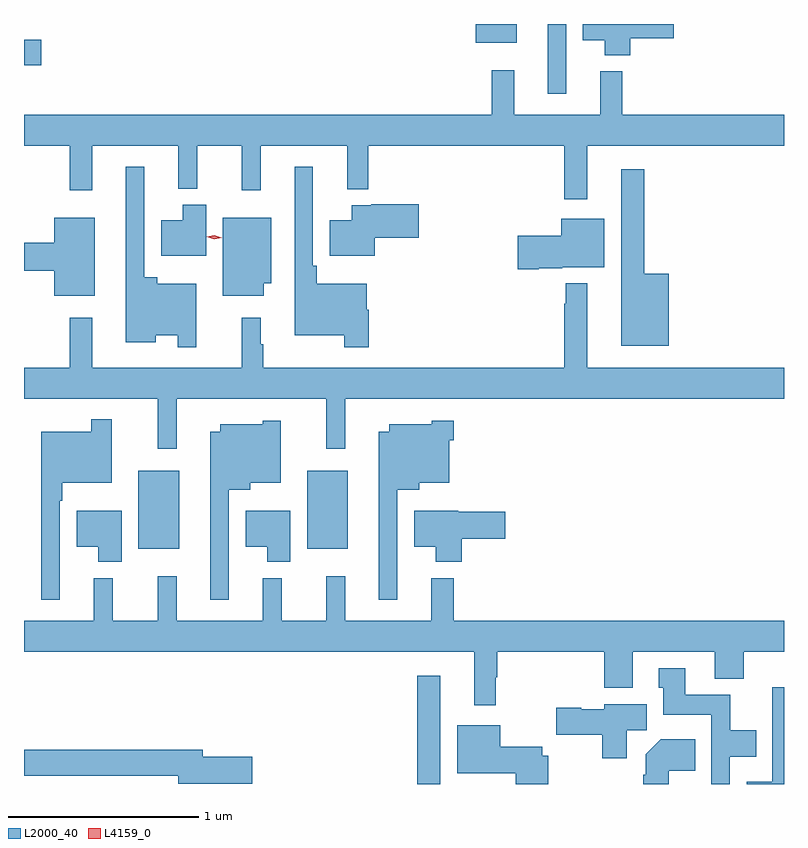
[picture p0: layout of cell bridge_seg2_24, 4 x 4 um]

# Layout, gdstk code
import gdstk
lib = gdstk.Library(unit=1e-6, precision=1e-09)
def R(c, l, rs):  # rectangles x0, y0, x1, y1
    for r in rs: c.add(gdstk.rectangle(r[:2], r[2:], *l))
def P(c, l, *ps):  # polygons
    for p in ps: c.add(gdstk.Polygon(p, *l))
L2000_40 = (2000, 40)
L4159_0 = (4159, 0)

bridge_seg2_24 = lib.new_cell('bridge_seg2_24')
R(bridge_seg2_24, L2000_40, [(673.65,658.929,673.771,659.5), (672.182,660.167,672.397,660.577), (673.07,660.167,673.285,660.577), (674.336,662.562,674.433,662.929), (671.58,662.711,671.671,662.846), (673.958,662.831,674.173,662.929)])
P(bridge_seg2_24, L2000_40, [(674.771,662.854),(675.001,662.854),(675.001,662.929),(674.522,662.929),(674.522,662.843),(674.636,662.843),(674.636,662.765),(674.771,662.765)],
  [(674.545,662.288),(675.58,662.288),(675.58,662.452),(674.729,662.452),(674.729,662.68),(674.612,662.68),(674.612,662.452),(674.159,662.452),(674.159,662.686),(674.041,662.686),(674.041,662.452),(671.58,662.452),(671.58,662.288),(671.821,662.288),(671.821,662.055),(671.939,662.055),(671.939,662.288),(672.392,662.288),(672.392,662.063),(672.492,662.063),(672.492,662.288),(672.727,662.288),(672.727,662.055),(672.827,662.055),(672.827,662.288),(673.28,662.288),(673.28,662.06),(673.393,662.06),(673.393,662.288),(674.424,662.288),(674.424,662.007),(674.545,662.007)],
  [(673.394,661.425),(673.384,661.425),(673.384,661.561),(673.121,661.561),(673.121,661.657),(673.101,661.657),(673.101,662.179),(673.005,662.179),(673.005,661.292),(673.266,661.292),(673.266,661.227),(673.394,661.227)],
  [(672.486,661.561),(672.282,661.561),(672.282,661.597),(672.213,661.597),(672.213,662.179),(672.116,662.179),(672.116,661.253),(672.274,661.253),(672.274,661.292),(672.39,661.292),(672.39,661.227),(672.486,661.227)],
  [(674.974,661.615),(674.845,661.615),(674.845,662.164),(674.723,662.164),(674.723,661.235),(674.974,661.235)],
  [(673.426,661.805),(673.657,661.805),(673.657,661.98),(673.408,661.98),(673.408,661.975),(673.304,661.975),(673.304,661.897),(673.19,661.897),(673.19,661.709),(673.426,661.709)],
  [(672.538,661.978),(672.416,661.978),(672.416,661.897),(672.302,661.897),(672.302,661.709),(672.538,661.709)],
  [(672.841,661.565),(672.88,661.565),(672.88,661.909),(672.626,661.909),(672.626,661.499),(672.841,661.499)],
  [(671.953,661.909),(671.738,661.909),(671.738,661.778),(671.58,661.778),(671.58,661.631),(671.738,661.631),(671.738,661.499),(671.953,661.499)],
  [(674.29,661.643),(674.412,661.643),(674.412,661.649),(674.635,661.649),(674.635,661.903),(674.408,661.903),(674.408,661.815),(674.178,661.815),(674.178,661.637),(674.29,661.637)],
  [(672.384,660.956),(673.171,660.956),(673.171,660.693),(673.272,660.693),(673.272,660.956),(675.58,660.956),(675.58,661.12),(674.545,661.12),(674.545,661.564),(674.431,661.564),(674.431,661.457),(674.424,661.457),(674.424,661.12),(672.838,661.12),(672.838,661.244),(672.826,661.244),(672.826,661.384),(672.727,661.384),(672.727,661.12),(671.938,661.12),(671.938,661.384),(671.821,661.384),(671.821,661.12),(671.58,661.12),(671.58,660.956),(672.283,660.956),(672.283,660.693),(672.384,660.693)],
  [(671.769,660.419),(671.782,660.419),(671.782,660.515),(672.042,660.515),(672.042,660.85),(671.934,660.85),(671.934,660.784),(671.672,660.784),(671.672,659.898),(671.769,659.898)],
  [(672.657,660.479),(672.772,660.479),(672.772,660.515),(672.931,660.515),(672.931,660.841),(672.837,660.841),(672.837,660.823),(672.614,660.823),(672.614,660.784),(672.56,660.784),(672.56,659.898),(672.657,659.898)],
  [(673.545,660.479),(673.66,660.479),(673.66,660.515),(673.819,660.515),(673.819,660.737),(673.841,660.737),(673.841,660.841),(673.725,660.841),(673.725,660.823),(673.502,660.823),(673.502,660.784),(673.448,660.784),(673.448,659.898),(673.545,659.898)],
  [(673.883,660.22),(674.113,660.22),(674.113,660.362),(673.866,660.362),(673.866,660.367),(673.634,660.367),(673.634,660.179),(673.748,660.179),(673.748,660.098),(673.883,660.098)],
  [(672.982,660.367),(672.746,660.367),(672.746,660.179),(672.86,660.179),(672.86,660.098),(672.982,660.098)],
  [(672.094,660.367),(671.858,660.367),(671.858,660.179),(671.972,660.179),(671.972,660.098),(672.094,660.098)],
  [(674.063,659.492),(674.071,659.492),(674.071,659.624),(674.633,659.624),(674.633,659.435),(674.785,659.435),(674.785,659.624),(675.215,659.624),(675.215,659.483),(675.368,659.483),(675.368,659.624),(675.58,659.624),(675.58,659.788),(673.841,659.788),(673.841,660.013),(673.724,660.013),(673.724,659.788),(673.271,659.788),(673.271,660.022),(673.171,660.022),(673.171,659.788),(672.936,659.788),(672.936,660.013),(672.836,660.013),(672.836,659.788),(672.383,659.788),(672.383,660.022),(672.283,660.022),(672.283,659.788),(672.048,659.788),(672.048,660.013),(671.948,660.013),(671.948,659.788),(671.58,659.788),(671.58,659.624),(673.949,659.624),(673.949,659.343),(674.063,659.343)],
  [(675.294,659.072),(675.433,659.072),(675.433,659.212),(675.297,659.212),(675.297,659.398),(675.061,659.398),(675.061,659.539),(674.921,659.539),(674.921,659.436),(674.945,659.436),(674.945,659.294),(675.198,659.294),(675.198,658.929),(675.294,658.929)],
  [(675.58,659.437),(675.518,659.437),(675.518,658.942),(675.384,658.942),(675.384,658.929),(675.58,658.929)],
  [(674.752,659.212),(674.857,659.212),(674.857,659.35),(674.634,659.35),(674.634,659.323),(674.514,659.323),(674.514,659.331),(674.382,659.331),(674.382,659.189),(674.623,659.189),(674.623,659.064),(674.752,659.064)],
  [(674.339,659.079),(674.308,659.079),(674.308,659.125),(674.086,659.125),(674.086,659.239),(673.859,659.239),(673.859,658.985),(674.168,658.985),(674.168,658.929),(674.339,658.929)],
  [(674.974,659),(675.113,659),(675.113,659.164),(674.93,659.164),(674.852,659.086),(674.852,658.979),(674.84,658.979),(674.84,658.929),(674.974,658.929)],
  [(672.781,659.072),(672.52,659.072),(672.52,659.108),(671.58,659.108),(671.58,658.972),(672.392,658.972),(672.392,658.93),(672.781,658.93)])
P(bridge_seg2_24, L4159_0, [(672.58,661.797),(672.541,661.809),(672.541,661.809),(672.541,661.81),(672.582,661.817),(672.621,661.804),(672.621,661.804),(672.621,661.804)])

lib.write_gds('bridge_seg2_24.gds')
